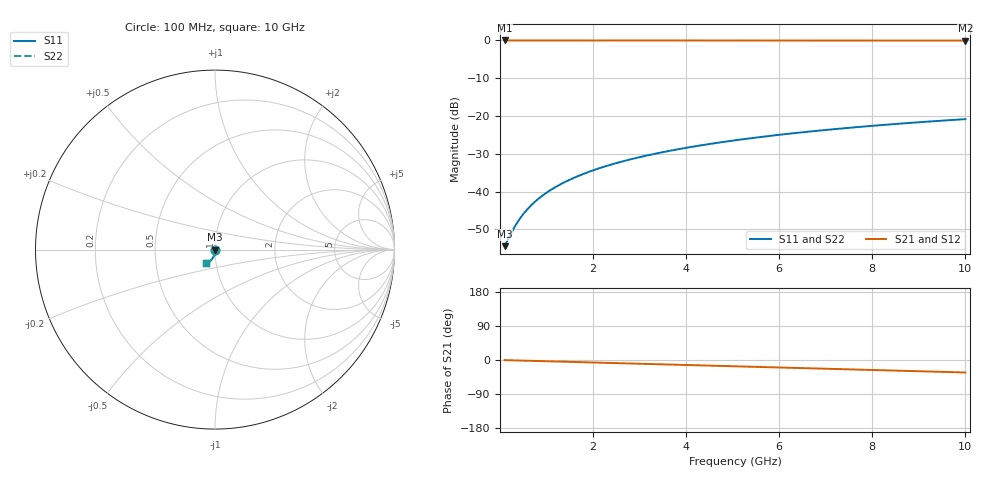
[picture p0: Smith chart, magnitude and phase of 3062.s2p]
# Hz S RI R 50.00
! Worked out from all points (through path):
!   100 points, 100 MHz to 10 GHz, reference 50 ohm
!   highest |S21| = -0.01 dB at 100 MHz (marker M1); lowest = -0.1 dB at 10 GHz (marker M2)
!   group delay of S21, straight-line fit = 9.16 ps
!   lowest |S11| = -54.4 dB at 100 MHz (marker M3), VSWR 1.00, Z = 50.2 - j0.0965 ohm
!   |S11| at or under -10 dB: start of sweep to end of sweep
!   |S22| runs from -54.4 to -20.8 dB; largest |S21 - S12| = 0
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1e8  0.00164 -0.000962  0.9983 -0.00572  0.9983 -0.00572  0.00164 -0.000962
3e8  0.00161 -0.00288  0.9982 -0.0172  0.9982 -0.0172  0.00161 -0.00288
4e8  0.00157 -0.00385  0.998 -0.0229  0.998 -0.0229  0.00157 -0.00385
5e8  0.00152 -0.00481  0.9979 -0.0286  0.9979 -0.0286  0.00152 -0.00481
6e8  0.00147 -0.00577  0.9977 -0.0343  0.9977 -0.0343  0.00147 -0.00577
7e8  0.0014 -0.00673  0.9975 -0.04  0.9975 -0.04  0.0014 -0.00673
9e8  0.00122 -0.00864  0.9969 -0.0515  0.9969 -0.0515  0.00122 -0.00864
1e9  0.00112 -0.0096  0.9966 -0.0572  0.9966 -0.0572  0.00112 -0.0096
1.2e9  0.000878 -0.0115  0.9958 -0.0686  0.9958 -0.0686  0.000878 -0.0115
1.5e9  0.000434 -0.0144  0.9944 -0.0857  0.9944 -0.0857  0.000434 -0.0144
1.8e9  -0.000109 -0.0172  0.9928 -0.1028  0.9928 -0.1028  -0.000109 -0.0172
2.1e9  -0.000749 -0.02  0.9908 -0.1199  0.9908 -0.1199  -0.000749 -0.02
2.5e9  -0.00175 -0.0238  0.9877 -0.1426  0.9877 -0.1426  -0.00175 -0.0238
2.9e9  -0.00293 -0.0274  0.984 -0.1652  0.984 -0.1652  -0.00293 -0.0274
3.4e9  -0.00464 -0.032  0.9787 -0.1934  0.9787 -0.1934  -0.00464 -0.032
4.2e9  -0.00791 -0.039  0.9684 -0.2381  0.9684 -0.2381  -0.00791 -0.039
5.1e9  -0.0123 -0.0465  0.9544 -0.2878  0.9544 -0.2878  -0.0123 -0.0465
5.9e9  -0.0169 -0.0528  0.9398 -0.3313  0.9398 -0.3313  -0.0169 -0.0528
6.7e9  -0.0221 -0.0587  0.9231 -0.374  0.9231 -0.374  -0.0221 -0.0587
7.5e9  -0.0277 -0.064  0.9043 -0.416  0.9043 -0.416  -0.0277 -0.064
8.4e9  -0.0346 -0.0694  0.881 -0.4621  0.881 -0.4621  -0.0346 -0.0694
1e10  -0.0482 -0.0771  0.8335 -0.5407  0.8335 -0.5407  -0.0482 -0.0771
